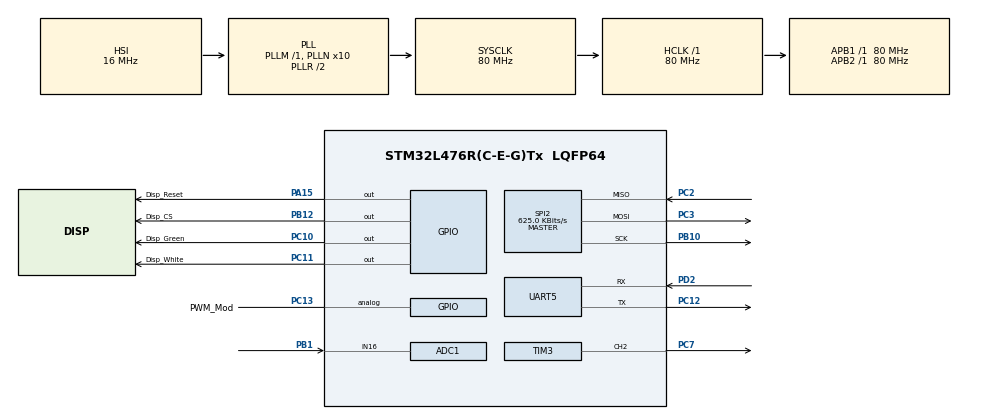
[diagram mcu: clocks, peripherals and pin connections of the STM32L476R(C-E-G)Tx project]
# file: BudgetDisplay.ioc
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Mcu.Family=STM32L4
PC3.Mode=Full_Duplex_Master
RCC.CortexFreq_Value=80000000
PC10.GPIO_PuPd=GPIO_PULLDOWN
ADC1.Overrun=ADC_OVR_DATA_OVERWRITTEN
SPI2.VirtualType=VM_MASTER
ADC1.ContinuousConvMode=ENABLE
PB10.Mode=Full_Duplex_Master
PC10.Signal=GPIO_Output
PC12.Signal=UART5_TX
VP_RTC_VS_RTC_Activate.Mode=RTC_Enabled
PA15\ (JTDI).Signal=GPIO_Output
PC13.GPIO_Label=PWM_Mod
RCC.SYSCLKSource=RCC_SYSCLKSOURCE_PLLCLK
ProjectManager.StackSize=0x400
SH.ADCx_IN16.0=ADC1_IN16,IN16-Single-Ended
PC11.GPIO_PuPd=GPIO_PULLDOWN
SPI2.CLKPolarity=SPI_POLARITY_HIGH
RCC.HCLKFreq_Value=80000000
ADC1.Resolution=ADC_RESOLUTION_8B
RCC.APB2TimFreq_Value=80000000
TIM3.Period=255
PC7.Signal=S_TIM3_CH2
PB12.PinState=GPIO_PIN_SET
PC3.Signal=SPI2_MOSI
RCC.AHBFreq_Value=80000000
SPI2.BaudRatePrescaler=SPI_BAUDRATEPRESCALER_128
RCC.HSE_VALUE=8000000
PB12.GPIO_Label=Disp_CS
VP_SYS_VS_tim1.Mode=TIM1
TIM3.Prescaler=255
PC11.GPIO_Label=Disp_White
SPI2.CalculateBaudRate=625.0 KBits/s
Mcu.Package=LQFP64
PB1.Signal=ADCx_IN16
NVIC.TimeBase=TIM1_UP_TIM16_IRQn
SPI2.Mode=SPI_MODE_MASTER
ADC1.OversamplingMode=DISABLE
NVIC.TimeBaseIP=TIM1
ADC1.OffsetNumber-1\#ChannelRegularConversion=ADC_OFFSET_NONE
SPI2.CLKPhase=SPI_PHASE_2EDGE
RCC.APB1TimFreq_Value=80000000
TIM3.Pulse-PWM\ Generation2\ CH2=255
SPI2.Direction=SPI_DIRECTION_2LINES
VP_TIM3_VS_ClockSourceINT.Mode=Internal
RCC.MSI_VALUE=4000000
RCC.PLLSourceVirtual=RCC_PLLSOURCE_HSI
PC10.GPIO_Label=Disp_Green
TIM3.AutoReloadPreload=TIM_AUTORELOAD_PRELOAD_DISABLE
PC11.Signal=GPIO_Output
PC13.Signal=GPIO_Analog
PC2.Signal=SPI2_MISO
PC2.Mode=Full_Duplex_Master
ProjectManager.TargetToolchain=STM32CubeIDE
ADC1.Channel-1\#ChannelRegularConversion=ADC_CHANNEL_16
RCC.USBFreq_Value=64000000
RCC.LSE_VALUE=32768
PB10.Signal=SPI2_SCK
PD2.Mode=Asynchronous
SH.S_TIM3_CH2.0=TIM3_CH2,PWM Generation2 CH2
PC12.Mode=Asynchronous
board=custom
RCC.VCOOutputFreq_Value=160000000
RCC.APB2Freq_Value=80000000
RCC.ADCFreq_Value=64000000
PA15\ (JTDI).GPIO_PuPd=GPIO_NOPULL
PA15\ (JTDI).GPIO_Label=Disp_Reset
Mcu.Name=STM32L476R(C-E-G)Tx
ADC1.SamplingTime-1\#ChannelRegularConversion=ADC_SAMPLETIME_2CYCLES_5
RCC.SYSCLKFreq_VALUE=80000000
ADC1.master=1
SPI2.FirstBit=SPI_FIRSTBIT_LSB
ADC1.Rank-1\#ChannelRegularConversion=1
ProjectManager.HeapSize=0x200
RCC.HSI_VALUE=16000000
NVIC.TIM1_UP_TIM16_IRQn=true\:0\:0\:false\:false\:true\:false\:true
NVIC.PriorityGroup=NVIC_PRIORITYGROUP_4
ADC1.NbrOfConversionFlag=1
TIM3.Channel-PWM\ Generation2\ CH2=TIM_CHANNEL_2
RCC.PLLN=10
SPI2.DataSize=SPI_DATASIZE_8BIT
PA15\ (JTDI).PinState=GPIO_PIN_SET
PD2.Signal=UART5_RX
RCC.APB1Freq_Value=80000000
ADC1.ClockPrescaler=ADC_CLOCK_ASYNC_DIV256
PB12.Signal=GPIO_Output

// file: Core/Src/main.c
/* USER CODE BEGIN Header */
/**
  ******************************************************************************
  * @file           : main.c
  * @brief          : Main program body
  ******************************************************************************
  * @attention
  *
  * <h2><center>&copy; Copyright (c) 2020 STMicroelectronics.
  * All rights reserved.</center></h2>
  *
  * This software component is licensed by ST under BSD 3-Clause license,
  * the "License"; You may not use this file except in compliance with the
  * License. You may obtain a copy of the License at:
  *                        opensource.org/licenses/BSD-3-Clause
  *
  ******************************************************************************
  */
/* USER CODE END Header */
#include "main.h"
#include "adc.h"
#include "rtc.h"
#include "spi.h"
#include "tim.h"
#include "usart.h"
#include "gpio.h"

/* USER CODE BEGIN PV */
RTC_TimeTypeDef t = {
		.Hours = 15,
		.Minutes = 30,
		.Seconds = 12
};
RTC_DateTypeDef d = {0};
uint32_t adw;

/* USER CODE END PV */

void SystemClock_Config(void);

int main(void)
{

  /* MCU Configuration--------------------------------------------------------*/

  /* Reset of all peripherals, Initializes the Flash interface and the Systick. */
  HAL_Init();

  /* Configure the system clock */
  SystemClock_Config();

  /* Initialize all configured peripherals */
  MX_GPIO_Init();
  MX_RTC_Init();
  MX_SPI2_Init();
  MX_TIM3_Init();
  MX_UART5_Init();
  MX_ADC1_Init();
  /* USER CODE BEGIN 2 */
  HAL_TIM_PWM_Start(&htim3, TIM_CHANNEL_2); // start PWM
  HAL_ADC_Start(&hadc1);
  screeninit();
  HAL_RTC_GetTime(&hrtc, &t, RTC_FORMAT_BIN);
  HAL_RTC_GetDate(&hrtc, &d, RTC_FORMAT_BIN);
  curtimr(&t); // read time from uart5
  HAL_RTC_SetTime(&hrtc, &t, RTC_FORMAT_BIN);
  HAL_Delay(10);
  /* USER CODE END 2 */

  /* Infinite loop */
  /* USER CODE BEGIN WHILE */
  while (1)
  {
	  adw = HAL_ADC_GetValue(&hadc1);
	  pwmod(adw & 0xFF); // modify pwm based on adc

	  HAL_RTC_GetTime(&hrtc, &t, RTC_FORMAT_BIN); // rtc functionality test, checks an shows time with one second intervals
	  HAL_RTC_GetDate(&hrtc, &d, RTC_FORMAT_BIN);
	  fontmod(t);
	  screenbuffer();
	  HAL_Delay(900);
    /* USER CODE END WHILE */

  }
}

void SystemClock_Config(void)
{
  RCC_OscInitTypeDef RCC_OscInitStruct = {0};
  RCC_ClkInitTypeDef RCC_ClkInitStruct = {0};
  RCC_PeriphCLKInitTypeDef PeriphClkInit = {0};

  /** Initializes the RCC Oscillators according to the specified parameters
  * in the RCC_OscInitTypeDef structure.
  */
  RCC_OscInitStruct.OscillatorType = RCC_OSCILLATORTYPE_HSI|RCC_OSCILLATORTYPE_LSI;
  RCC_OscInitStruct.HSIState = RCC_HSI_ON;
  RCC_OscInitStruct.HSICalibrationValue = RCC_HSICALIBRATION_DEFAULT;
  RCC_OscInitStruct.LSIState = RCC_LSI_ON;
  RCC_OscInitStruct.PLL.PLLState = RCC_PLL_ON;
  RCC_OscInitStruct.PLL.PLLSource = RCC_PLLSOURCE_HSI;
  RCC_OscInitStruct.PLL.PLLM = 1;
  RCC_OscInitStruct.PLL.PLLN = 10;
  RCC_OscInitStruct.PLL.PLLP = RCC_PLLP_DIV7;
  RCC_OscInitStruct.PLL.PLLQ = RCC_PLLQ_DIV2;
  RCC_OscInitStruct.PLL.PLLR = RCC_PLLR_DIV2;
  if (HAL_RCC_OscConfig(&RCC_OscInitStruct) != HAL_OK)
  {
    Error_Handler();
  }
  /** Initializes the CPU, AHB and APB buses clocks
  */
  RCC_ClkInitStruct.ClockType = RCC_CLOCKTYPE_HCLK|RCC_CLOCKTYPE_SYSCLK
                              |RCC_CLOCKTYPE_PCLK1|RCC_CLOCKTYPE_PCLK2;
  RCC_ClkInitStruct.SYSCLKSource = RCC_SYSCLKSOURCE_PLLCLK;
  RCC_ClkInitStruct.AHBCLKDivider = RCC_SYSCLK_DIV1;
  RCC_ClkInitStruct.APB1CLKDivider = RCC_HCLK_DIV1;
  RCC_ClkInitStruct.APB2CLKDivider = RCC_HCLK_DIV1;

  if (HAL_RCC_ClockConfig(&RCC_ClkInitStruct, FLASH_LATENCY_4) != HAL_OK)
  {
    Error_Handler();
  }
  PeriphClkInit.PeriphClockSelection = RCC_PERIPHCLK_RTC|RCC_PERIPHCLK_UART5
                              |RCC_PERIPHCLK_ADC;
  PeriphClkInit.Uart5ClockSelection = RCC_UART5CLKSOURCE_PCLK1;
  PeriphClkInit.AdcClockSelection = RCC_ADCCLKSOURCE_PLLSAI1;
  PeriphClkInit.RTCClockSelection = RCC_RTCCLKSOURCE_LSI;
  PeriphClkInit.PLLSAI1.PLLSAI1Source = RCC_PLLSOURCE_HSI;
  PeriphClkInit.PLLSAI1.PLLSAI1M = 1;
  PeriphClkInit.PLLSAI1.PLLSAI1N = 8;
  PeriphClkInit.PLLSAI1.PLLSAI1P = RCC_PLLP_DIV7;
  PeriphClkInit.PLLSAI1.PLLSAI1Q = RCC_PLLQ_DIV2;
  PeriphClkInit.PLLSAI1.PLLSAI1R = RCC_PLLR_DIV2;
  PeriphClkInit.PLLSAI1.PLLSAI1ClockOut = RCC_PLLSAI1_ADC1CLK;
  if (HAL_RCCEx_PeriphCLKConfig(&PeriphClkInit) != HAL_OK)
  {
    Error_Handler();
  }
  /** Configure the main internal regulator output voltage
  */
  if (HAL_PWREx_ControlVoltageScaling(PWR_REGULATOR_VOLTAGE_SCALE1) != HAL_OK)
  {
    Error_Handler();
  }
}

void HAL_TIM_PeriodElapsedCallback(TIM_HandleTypeDef *htim)
{
  if (htim->Instance == TIM1) {
    HAL_IncTick();
  }
}

void Error_Handler(void)
{
}

/************************ (C) COPYRIGHT STMicroelectronics *****END OF FILE****/
